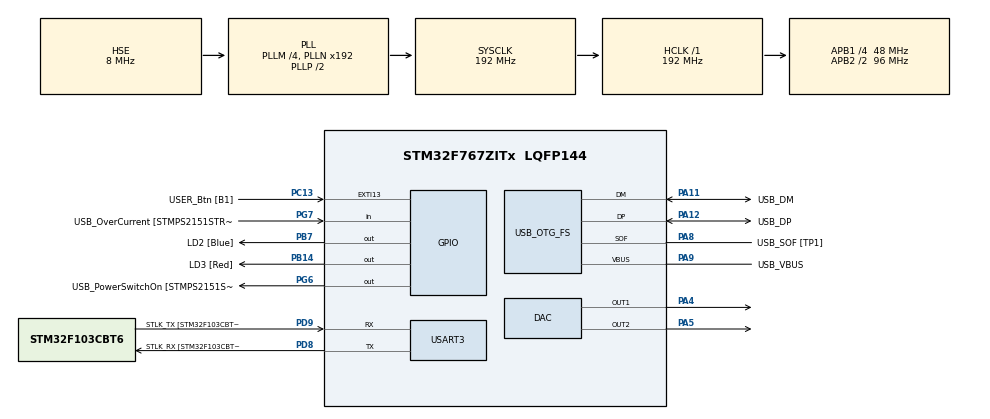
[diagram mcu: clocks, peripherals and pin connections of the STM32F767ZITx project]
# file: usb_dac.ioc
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Mcu.Family=STM32F7
Mcu.Name=STM32F767ZITx
Mcu.Package=LQFP144
NVIC.OTG_FS_IRQn=true\:2\:0\:true\:false\:true\:false
NVIC.PriorityGroup=NVIC_PRIORITYGROUP_4
PA1.GPIO_Label=RMII_REF_CLK [LAN8742A-CZ-TR_REFCLK0]
PA1.Signal=ETH_REF_CLK
PA10.GPIO_Label=USB_ID
PA10.Signal=USB_OTG_FS_ID
PA11.GPIO_Label=USB_DM
PA11.Mode=Device_Only
PA11.Signal=USB_OTG_FS_DM
PA12.GPIO_Label=USB_DP
PA12.Mode=Device_Only
PA12.Signal=USB_OTG_FS_DP
PA13.GPIO_Label=TMS
PA13.Mode=Serial_Wire
PA13.Signal=SYS_JTMS-SWDIO
PA14.GPIO_Label=TCK
PA14.Mode=Serial_Wire
PA14.Signal=SYS_JTCK-SWCLK
PA2.GPIO_Label=RMII_MDIO [LAN8742A-CZ-TR_MDIO]
PA2.Signal=ETH_MDIO
PA4.Signal=COMP_DAC1_group
PA5.Signal=COMP_DAC2_group
PA7.GPIO_Label=RMII_CRS_DV [LAN8742A-CZ-TR_CRS_DV]
PA7.Signal=ETH_CRS_DV
PA8.GPIO_Label=USB_SOF [TP1]
PA8.Mode=Activate_SOF_FS
PA8.Signal=USB_OTG_FS_SOF
PA9.GPIO_Label=USB_VBUS
PA9.Mode=Activate_VBUS
PA9.Signal=USB_OTG_FS_VBUS
PB13.GPIO_Label=RMII_TXD1 [LAN8742A-CZ-TR_TXD1]
PB13.Signal=ETH_TXD1
PB14.GPIO_Label=LD3 [Red]
PB14.Signal=GPIO_Output
PB3.GPIO_Label=SWO
PB3.Signal=SYS_JTDO-SWO
PB7.GPIO_Label=LD2 [Blue]
PB7.Signal=GPIO_Output
PC1.GPIO_Label=RMII_MDC [LAN8742A-CZ-TR_MDC]
PC1.Signal=ETH_MDC
PC13.GPIO_Label=USER_Btn [B1]
PC13.Signal=GPXTI13
PC14/OSC32_IN.Mode=LSE-External-Oscillator
PC14/OSC32_IN.Signal=RCC_OSC32_IN
PC15/OSC32_OUT.Mode=LSE-External-Oscillator
PC15/OSC32_OUT.Signal=RCC_OSC32_OUT
PC4.GPIO_Label=RMII_RXD0 [LAN8742A-CZ-TR_RXD0]
PC4.Signal=ETH_RXD0
PC5.GPIO_Label=RMII_RXD1 [LAN8742A-CZ-TR_RXD1]
PC5.Signal=ETH_RXD1
PD8.GPIO_Label=STLK_RX [STM32F103CBT6_PA3]
PD8.Mode=Asynchronous
PD8.Signal=USART3_TX
PD9.GPIO_Label=STLK_TX [STM32F103CBT6_PA2]
PD9.Mode=Asynchronous
PD9.Signal=USART3_RX
PG11.GPIO_Label=RMII_TX_EN [LAN8742A-CZ-TR_TXEN]
PG11.Signal=ETH_TX_EN
PG13.GPIO_Label=RMII_TXD0 [LAN8742A-CZ-TR_TXD0]
PG13.Signal=ETH_TXD0
PG6.GPIO_Label=USB_PowerSwitchOn [STMPS2151STR_EN]
PG6.Signal=GPIO_Output
PG7.GPIO_Label=USB_OverCurrent [STMPS2151STR_FAULT]
PG7.Signal=GPIO_Input
PH0/OSC_IN.GPIO_Label=MCO [STM32F103CBT6_PA8]
PH0/OSC_IN.Mode=HSE-External-Clock-Source
PH0/OSC_IN.Signal=RCC_OSC_IN
PH1/OSC_OUT.Mode=HSE-External-Clock-Source
PH1/OSC_OUT.Signal=RCC_OSC_OUT
ProjectManager.HeapSize=0x2000
ProjectManager.StackSize=0x4000
ProjectManager.TargetToolchain=SW4STM32
RCC.48MHZClocksFreq_Value=24000000
RCC.AHBFreq_Value=192000000
RCC.APB1CLKDivider=RCC_HCLK_DIV4
RCC.APB1Freq_Value=48000000
RCC.APB1TimFreq_Value=96000000
RCC.APB2CLKDivider=RCC_HCLK_DIV2
RCC.APB2Freq_Value=96000000
RCC.APB2TimFreq_Value=192000000
RCC.CortexFreq_Value=192000000
RCC.HCLKFreq_Value=192000000
RCC.HSE_VALUE=8000000
RCC.HSI_VALUE=16000000
RCC.PLLM=4
RCC.PLLMUL=RCC_PLL_MUL9
RCC.PLLQ=8
RCC.PRESCALERUSB=RCC_USBCLKSOURCE_PLL_DIV1_5
RCC.SYSCLKFreq_VALUE=192000000
RCC.SYSCLKSource=RCC_SYSCLKSOURCE_PLLCLK
RCC.SYSCLKSourceVirtual=RCC_SYSCLKSOURCE_PLLCLK
RCC.USBFreq_Value=48000000
RCC.VCOOutputFreq_Value=384000000
SH.COMP_DAC1_group.0=DAC_OUT1,DAC_OUT1
SH.COMP_DAC2_group.0=DAC_OUT2,DAC_OUT2
USART3.VirtualMode-Asynchronous=VM_ASYNC
USB_DEVICE.CLASS_NAME_FS=CDC
USB_DEVICE.VirtualMode-CDC_FS=Cdc
USB_DEVICE.VirtualModeFS=Cdc_FS
USB_OTG_FS.VirtualMode=Device_Only
VP_USB_DEVICE_VS_USB_DEVICE_CDC_FS.Mode=CDC_FS
board=NUCLEO-F767ZI

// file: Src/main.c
/**
  ******************************************************************************
  * @file           : main.c
  * @brief          : Main program body
  ******************************************************************************
  * This notice applies to any and all portions of this file
  * that are not between comment pairs USER CODE BEGIN and
  * USER CODE END. Other portions of this file, whether
  * inserted by the user or by software development tools
  * are owned by their respective copyright owners.
  *
  * Copyright (c) 2018 STMicroelectronics International N.V.
  * All rights reserved.
  *
  * Redistribution and use in source and binary forms, with or without
  * modification, are permitted, provided that the following conditions are met:
  *
  * 1. Redistribution of source code must retain the above copyright notice,
  *    this list of conditions and the following disclaimer.
  * 2. Redistributions in binary form must reproduce the above copyright notice,
  *    this list of conditions and the following disclaimer in the documentation
  *    and/or other materials provided with the distribution.
  * 3. Neither the name of STMicroelectronics nor the names of other
  *    contributors to this software may be used to endorse or promote products
  *    derived from this software without specific written permission.
  * 4. This software, including modifications and/or derivative works of this
  *    software, must execute solely and exclusively on microcontroller or
  *    microprocessor devices manufactured by or for STMicroelectronics.
  * 5. Redistribution and use of this software other than as permitted under
  *    this license is void and will automatically terminate your rights under
  *    this license.
  *
  * THIS SOFTWARE IS PROVIDED BY STMICROELECTRONICS AND CONTRIBUTORS "AS IS"
  * AND ANY EXPRESS, IMPLIED OR STATUTORY WARRANTIES, INCLUDING, BUT NOT
  * LIMITED TO, THE IMPLIED WARRANTIES OF MERCHANTABILITY, FITNESS FOR A
  * PARTICULAR PURPOSE AND NON-INFRINGEMENT OF THIRD PARTY INTELLECTUAL PROPERTY
  * RIGHTS ARE DISCLAIMED TO THE FULLEST EXTENT PERMITTED BY LAW. IN NO EVENT
  * SHALL STMICROELECTRONICS OR CONTRIBUTORS BE LIABLE FOR ANY DIRECT, INDIRECT,
  * INCIDENTAL, SPECIAL, EXEMPLARY, OR CONSEQUENTIAL DAMAGES (INCLUDING, BUT NOT
  * LIMITED TO, PROCUREMENT OF SUBSTITUTE GOODS OR SERVICES; LOSS OF USE, DATA,
  * OR PROFITS; OR BUSINESS INTERRUPTION) HOWEVER CAUSED AND ON ANY THEORY OF
  * LIABILITY, WHETHER IN CONTRACT, STRICT LIABILITY, OR TORT (INCLUDING
  * NEGLIGENCE OR OTHERWISE) ARISING IN ANY WAY OUT OF THE USE OF THIS SOFTWARE,
  * EVEN IF ADVISED OF THE POSSIBILITY OF SUCH DAMAGE.
  *
  ******************************************************************************
  */
#include "main.h"
#include "stm32f7xx_hal.h"
#include "dac.h"
#include "usart.h"
#include "usb_device.h"
#include "gpio.h"

/* USER CODE BEGIN Includes */
#include "usbd_cdc_if.h"
/* USER CODE END Includes */

/* USER CODE BEGIN PV */
#define INTERMSG_BYTES 4

/* Private variables ---------------------------------------------------------*/
typedef struct Array{
	uint16_t *array;
	size_t used;
	size_t size;
} Array;

typedef struct Array8{
	uint8_t *array;
	size_t used;
	size_t size;
} Array8;

typedef struct ArrHolder{
	Array* x;
	Array* y;
	Array* t;
	char* eraseFlag;
} ArrHolder;
/* USER CODE END PV */

void SystemClock_Config(void);

/* USER CODE BEGIN PFP */
/* Private function prototypes -----------------------------------------------*/
void parseString(uint8_t *Buf, uint32_t *Len, ArrHolder Arr, uint8_t *interMsg, int *interMsgSize);
void interpolInsert2Arr(int p1, int p2, uint16_t t, Array* resArr);

void initArray(Array *a, size_t initialSize);
void insert2Array(Array *a, int element);
void freeArray(Array *a);

void USB_DEVICE_MasterHardReset(void);
/* USER CODE END PFP */

/* USER CODE BEGIN 0 */
ArrHolder Arrs;
uint8_t interMsgSave[INTERMSG_BYTES];
int cyclesToWait, startCycle;
int interMsgSizeGlob = 0;
/* USER CODE END 0 */

int main(void)
{

  /* MCU Configuration----------------------------------------------------------*/

  /* Reset of all peripherals, Initializes the Flash interface and the Systick. */
  HAL_Init();

  /* Configure the system clock */
  SystemClock_Config();

  /* Initialize all configured peripherals */
  MX_GPIO_Init();
  MX_USART3_UART_Init();
//  USB_DEVICE_MasterHardReset();
  MX_USB_DEVICE_Init();
  MX_DAC_Init();
  /* USER CODE BEGIN 2 */

  // Setting processor cycle-based timer
  CoreDebug->DEMCR |= CoreDebug_DEMCR_TRCENA_Msk;
  DWT->LAR = 0xC5ACCE55;	// Lock Access Register
  DWT->CTRL |= DWT_CTRL_CYCCNTENA_Msk; // enable the counter
  DWT->CYCCNT = 0; // reset the counter
  cyclesToWait = (SystemCoreClock/1000000L)*20; // wait 20 us

  HAL_DAC_Start(&hdac,DAC_CHANNEL_1);
  HAL_DAC_Start(&hdac,DAC_CHANNEL_2);

  HAL_DAC_SetValue(&hdac,DAC_CHANNEL_1,DAC_ALIGN_12B_R, 2048);
  HAL_DAC_SetValue(&hdac,DAC_CHANNEL_2,DAC_ALIGN_12B_R, 2048);

  Array xarr, yarr, tarr;
  initArray(&xarr, 1024);
  initArray(&yarr, 1024);
  initArray(&tarr, 1024);
  *(xarr.array) = 0;
  *(yarr.array) = 0;
  *(tarr.array) = 0;
  Arrs.x = &xarr;
  Arrs.y = &yarr;
  Arrs.t = &tarr;
  *(Arrs.eraseFlag) = 0;

  uint16_t t = 0;
  uint16_t xcur = 0;
  uint16_t ycur = 0;
  uint16_t tcur = 0;
  uint16_t p = 0;
  uint16_t x = 0;
  uint16_t xprev = 0;
  uint16_t y = 0;
  uint16_t yprev = 0;

  double xStepDiff = 0;
  double yStepDiff = 0;

  /* USER CODE END 2 */

  /* Infinite loop */
  /* USER CODE BEGIN WHILE */
  while (1)
  {
	  startCycle = DWT->CYCCNT;

//// To be used with pre-made arrays of points
//	  HAL_DAC_SetValue(&hdac,DAC_CHANNEL_1,DAC_ALIGN_12B_R, xarr.array[p]);
//	  HAL_DAC_SetValue(&hdac,DAC_CHANNEL_2,DAC_ALIGN_12B_R, yarr.array[p]);
//	  if (p>=(int)xarr.used-1)
//	  {
//		  p = 0;
//	  } else {
//		  p++;
//	  }

	  // To be used with new interpolation Array calculated for every point
	  if (tcur == 0)
	  {
		  if (xarr.used > 1)
		  {
			  xprev = x;
			  yprev = y;
		  } else {
			  xprev = xarr.array[0];
			  yprev = yarr.array[0];
		  }

		  x = xarr.array[p];
		  xcur = xprev;
		  y = yarr.array[p];
		  ycur = yprev;
		  t = tarr.array[p];

		  if (xprev > 0)
		  {
			  xStepDiff = (x - xprev) / (double)(t + 1);
			  yStepDiff = (y - yprev) / (double)(t + 1);
		  }

	  } else
	  {
		  xcur = xprev + xStepDiff * tcur;
		  ycur = yprev + yStepDiff * tcur;
	  }

	  if (tcur == t)
	  {
		  tcur = 0;
		  if ((xarr.used==0) | (p>=xarr.used-1))
		  {
			  p = 0;
		  } else if (xarr.used > 0)
		  {
			  p++;
		  }
	  } else
	  {
		  tcur++;
	  }

	  HAL_DAC_SetValue(&hdac,DAC_CHANNEL_1,DAC_ALIGN_12B_R, xcur);
	  HAL_DAC_SetValue(&hdac,DAC_CHANNEL_2,DAC_ALIGN_12B_R, ycur);

	  do {
	  }while(DWT->CYCCNT - startCycle < cyclesToWait);

  /* USER CODE END WHILE */

  }

}

void SystemClock_Config(void)
{

  RCC_OscInitTypeDef RCC_OscInitStruct;
  RCC_ClkInitTypeDef RCC_ClkInitStruct;
  RCC_PeriphCLKInitTypeDef PeriphClkInitStruct;

    /**Configure the main internal regulator output voltage
    */
  __HAL_RCC_PWR_CLK_ENABLE();

  __HAL_PWR_VOLTAGESCALING_CONFIG(PWR_REGULATOR_VOLTAGE_SCALE1);

    /**Initializes the CPU, AHB and APB busses clocks
    */
  RCC_OscInitStruct.OscillatorType = RCC_OSCILLATORTYPE_HSE;
  RCC_OscInitStruct.HSEState = RCC_HSE_BYPASS;
  RCC_OscInitStruct.PLL.PLLState = RCC_PLL_ON;
  RCC_OscInitStruct.PLL.PLLSource = RCC_PLLSOURCE_HSE;
  RCC_OscInitStruct.PLL.PLLM = 4;
  RCC_OscInitStruct.PLL.PLLN = 192;
  RCC_OscInitStruct.PLL.PLLP = RCC_PLLP_DIV2;
  RCC_OscInitStruct.PLL.PLLQ = 8;
  if (HAL_RCC_OscConfig(&RCC_OscInitStruct) != HAL_OK)
  {
    _Error_Handler(__FILE__, __LINE__);
  }

    /**Activate the Over-Drive mode
    */
  if (HAL_PWREx_EnableOverDrive() != HAL_OK)
  {
    _Error_Handler(__FILE__, __LINE__);
  }

    /**Initializes the CPU, AHB and APB busses clocks
    */
  RCC_ClkInitStruct.ClockType = RCC_CLOCKTYPE_HCLK|RCC_CLOCKTYPE_SYSCLK
                              |RCC_CLOCKTYPE_PCLK1|RCC_CLOCKTYPE_PCLK2;
  RCC_ClkInitStruct.SYSCLKSource = RCC_SYSCLKSOURCE_PLLCLK;
  RCC_ClkInitStruct.AHBCLKDivider = RCC_SYSCLK_DIV1;
  RCC_ClkInitStruct.APB1CLKDivider = RCC_HCLK_DIV4;
  RCC_ClkInitStruct.APB2CLKDivider = RCC_HCLK_DIV2;

  if (HAL_RCC_ClockConfig(&RCC_ClkInitStruct, FLASH_LATENCY_6) != HAL_OK)
  {
    _Error_Handler(__FILE__, __LINE__);
  }

  PeriphClkInitStruct.PeriphClockSelection = RCC_PERIPHCLK_USART3|RCC_PERIPHCLK_CLK48;
  PeriphClkInitStruct.Usart3ClockSelection = RCC_USART3CLKSOURCE_PCLK1;
  PeriphClkInitStruct.Clk48ClockSelection = RCC_CLK48SOURCE_PLL;
  if (HAL_RCCEx_PeriphCLKConfig(&PeriphClkInitStruct) != HAL_OK)
  {
    _Error_Handler(__FILE__, __LINE__);
  }

    /**Configure the Systick interrupt time
    */
  HAL_SYSTICK_Config(HAL_RCC_GetHCLKFreq()/1000);

    /**Configure the Systick
    */
  HAL_SYSTICK_CLKSourceConfig(SYSTICK_CLKSOURCE_HCLK);

  /* SysTick_IRQn interrupt configuration */
  HAL_NVIC_SetPriority(SysTick_IRQn, 0, 0);
}

/* USER CODE BEGIN 4 */
void initArray(Array *a, size_t initialSize)
{
	a->array = (uint16_t*)malloc(initialSize * sizeof(uint16_t));
	a->array[0] = 0;
	a->used = 0;
	a->size = initialSize;
}

void insert2Array(Array *a, int element)
{
	if (a->used == a->size)
	{
		a->size += 64;
		a->array = (uint16_t*) realloc(a->array, a->size * sizeof(uint16_t));
	}
	a->array[a->used++] = element;
}

void freeArray(Array *a)
{
	free(a->array);
	a->array = NULL;
	a->used = a->size = 0;
}

void initArray8(Array8 *a, size_t initialSize)
{
	a->array = (uint8_t*)malloc(initialSize * sizeof(uint8_t));
	a->array[0] = 0;
	a->used = 0;
	a->size = initialSize;
}

void insert2Array8(Array8 *a, int element)
{
	if (a->used == a->size)
	{
		a->size += 8;
		a->array = (uint8_t*) realloc(a->array, a->size * sizeof(uint8_t));
	}
	a->array[a->used++] = element;
}

void freeArray8(Array8 *a)
{
	free(a->array);
	a->array = NULL;
	a->used = a->size = 0;
}

void interpolInsert2Arr(int p1, int p2, uint16_t t, Array* resArr)
// Makes t points between p1 and p2 and inserts to the Array resArr
{
	int pdiff, newpoint, i;
	double d;

	pdiff = p2 - p1;
	d = pdiff / (double)(t + 1);

	for (i = 1; i<(t+1); ++i)
	{
		newpoint = p1 + d * i;
		insert2Array(resArr, newpoint);
	}
}

void parseString(uint8_t *Buf, uint32_t *Len, ArrHolder Arrs, uint8_t *interMsg, int *interMsgSize)
{

	uint8_t i, j;
	i = j = 0;
	uint8_t send_res;
	uint16_t x = 0;
	uint16_t y = 0;
	uint16_t t = 0;
	Array* xarr = Arrs.x;
	Array* yarr = Arrs.y;
	Array* tarr = Arrs.t;
	Array8 tempBuf;
	int tempBufFlag = 0;

	void eraseAllArrs(void)
	{
		freeArray(xarr);
		freeArray(yarr);
		freeArray(tarr);
		initArray(xarr, 64);
		initArray(yarr, 64);
		initArray(tarr, 64);
		*(Arrs.eraseFlag) = 0;
	}

	if (*(Arrs.eraseFlag))
	{
		eraseAllArrs();
	}

	// work only with information with even number of bytes
	// odd number of bytes probably means \n in the end
	if (*Len % 2 == 1)
	{
		(*Len)--;
	}

	if (*interMsgSize > 0)
	{
		*Len += *interMsgSize;
		initArray8(&tempBuf, *Len);
		tempBufFlag = 1;

		for (j=0; j<*interMsgSize; ++j)
		{
			insert2Array8(&tempBuf, *(interMsg+j));
		}

		for (j=0; j<(*Len - *interMsgSize); ++j)
		{
			insert2Array8(&tempBuf, *(Buf+j));
		}
		Buf = tempBuf.array;
	}

	// parse the data
	while ((*Len - i) / 6 > 0)
	{
		x = (uint16_t) ((*(Buf+i) << 8) | (*(Buf+i+1)));
		y = (uint16_t) ((*(Buf+i+2) << 8) | (*(Buf+i+3)));
		t = (uint16_t) ((*(Buf+i+4) << 8) | (*(Buf+i+5)));
		i += 6;

//		if (xarr->used > 0)
//		{
//			interpol(xarr->array[xarr->used-1], x, t, xarr);
//		}
		insert2Array(xarr, x);

//		if (yarr->used > 0)
//		{
//			interpol(yarr->array[yarr->used-1], y, t, yarr);
//		}
		insert2Array(yarr, y);

		insert2Array(tarr, t);
	}

	*interMsgSize = *Len - i;

	// check if bytes that left are command
	if (*(Buf+i) == 0xEE)
	{
		if (*(Buf+i+1) == 0xEE)
		{
			// erase all data upon receiving the next message
			*(Arrs.eraseFlag) = 1;
			*interMsgSize = 0;
		} else if (*(Buf+i+1) == 0x01)
		{
			// erase all data immediately
			eraseAllArrs();
			*interMsgSize = 0;
		}
	}

	while ((*Len - i) > 0)
	{
		*interMsg++ = *(Buf+i++);
	}

	if (tempBufFlag)
		freeArray8(&tempBuf);

}

// called from function CDC_Receive_FS in file usbd_cdc_if.c
void receivedUsbCallback(uint8_t* Buf, uint32_t *Len)
{
	parseString(Buf, Len, Arrs, &interMsgSave, &interMsgSizeGlob);
	HAL_GPIO_TogglePin(GPIOB, LD2_Pin);
}

/*pull down the USB RP pin to let think of master that device have been
 *disconnected and force new device identification
 *when calling MX_USB_DEVICE_Init() */
void USB_DEVICE_MasterHardReset(void)
{
    GPIO_InitTypeDef GPIO_InitStruct;
    GPIO_InitStruct.Pin = GPIO_PIN_9;
    GPIO_InitStruct.Mode = GPIO_MODE_OUTPUT_PP;
    GPIO_InitStruct.Pull = GPIO_PULLDOWN;
    GPIO_InitStruct.Speed = GPIO_SPEED_FREQ_HIGH;
    HAL_GPIO_Init(GPIOA, &GPIO_InitStruct);
    HAL_GPIO_WritePin(GPIOA,GPIO_PIN_9,0);
    HAL_Delay(1000);
}

/* USER CODE END 4 */

void _Error_Handler(char *file, int line)
{
  while(1)
  {
  }
}

/************************ (C) COPYRIGHT STMicroelectronics *****END OF FILE****/
